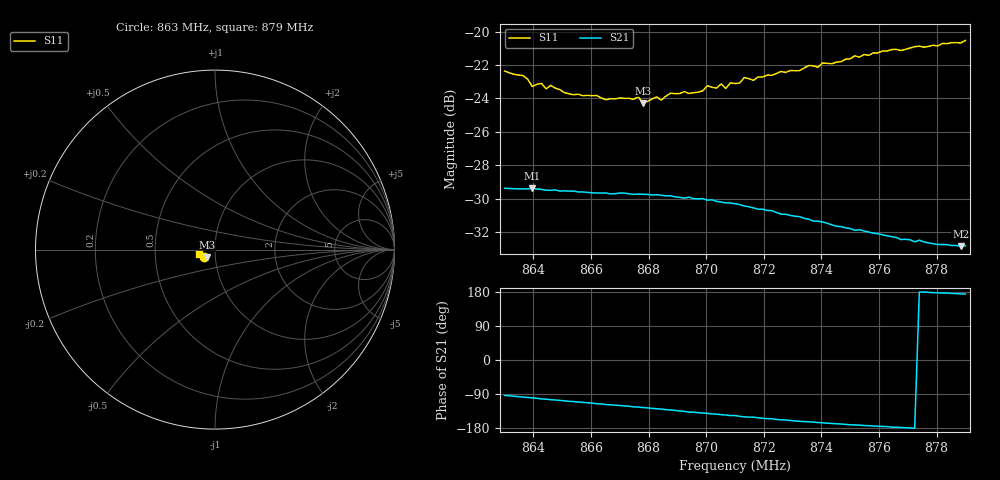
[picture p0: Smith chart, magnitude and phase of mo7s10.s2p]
# HZ S RI R 50
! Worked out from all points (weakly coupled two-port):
!   101 points, 863 MHz to 879 MHz, reference 50 ohm
!   highest |S21| = -29.37 dB at 863.96 MHz (marker M1); lowest = -32.8 dB at 878.84 MHz (marker M2)
!   lowest |S11| = -24.3 dB at 867.8 MHz (marker M3), VSWR 1.13, Z = 45.6 - j3.83 ohm
!   |S11| at or under -10 dB: start of sweep to end of sweep
!   S12 and S22 are empty: the file has one direction only
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8.63e8  -0.0636 -0.042  -0.00194 -0.0339  0 0  0 0
8.6364e8  -0.0607 -0.0421  -0.00469 -0.0336  0 0  0 0
8.6396e8  -0.0552 -0.0406  -0.0058 -0.0335  0 0  0 0
8.6428e8  -0.056 -0.042  -0.00738 -0.0329  0 0  0 0
8.6444e8  -0.0549 -0.0392  -0.00772 -0.0327  0 0  0 0
8.646e8  -0.0562 -0.0401  -0.00856 -0.0324  0 0  0 0
8.6572e8  -0.0495 -0.041  -0.0124 -0.0308  0 0  0 0
8.6764e8  -0.0469 -0.0434  -0.0183 -0.0271  0 0  0 0
8.678e8  -0.0446 -0.0419  -0.0189 -0.0266  0 0  0 0
8.6828e8  -0.0458 -0.0444  -0.0203 -0.0254  0 0  0 0
8.6844e8  -0.0444 -0.0438  -0.0207 -0.025  0 0  0 0
8.6876e8  -0.0461 -0.0464  -0.0215 -0.0241  0 0  0 0
8.6972e8  -0.0458 -0.0474  -0.0238 -0.0208  0 0  0 0
8.7052e8  -0.0495 -0.0491  -0.0251 -0.0181  0 0  0 0
8.7068e8  -0.0476 -0.048  -0.0253 -0.0176  0 0  0 0
8.71e8  -0.0494 -0.0495  -0.0255 -0.0168  0 0  0 0
8.7132e8  -0.0526 -0.0505  -0.0261 -0.0151  0 0  0 0
8.7164e8  -0.0501 -0.051  -0.0259 -0.0145  0 0  0 0
8.7372e8  -0.0615 -0.0496  -0.0261 -0.00752  0 0  0 0
8.7644e8  -0.077 -0.0433  -0.0244 -0.00115  0 0  0 0
8.7884e8  -0.0881 -0.0282  -0.0227 0.0022  0 0  0 0
8.79e8  -0.0903 -0.0263  -0.0228 0.00236  0 0  0 0
